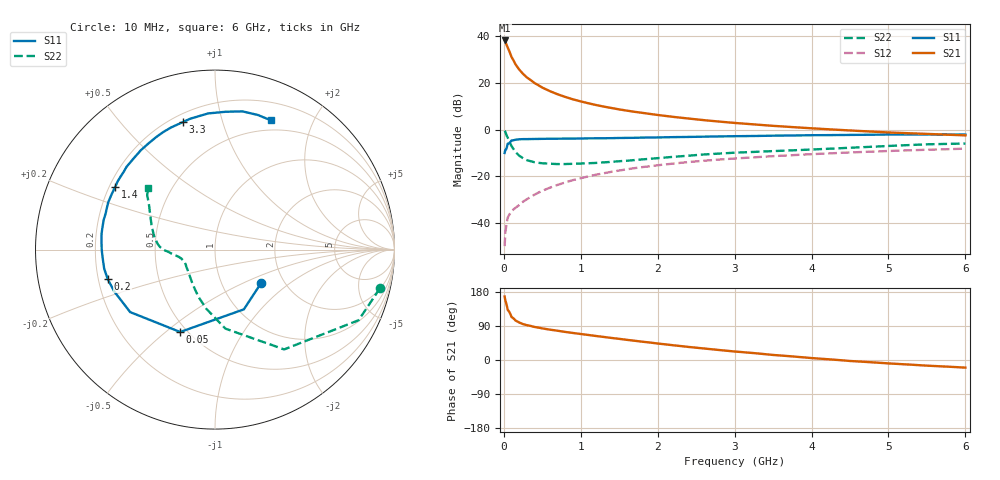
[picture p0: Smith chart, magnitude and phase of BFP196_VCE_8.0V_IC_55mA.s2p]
! Infineon Technologies  Discrete & RF Semiconductors
! BFP196
! VCE =  8.0 V,  IC =  55 mA
! Common Emitter S-Parameters:  Jan 2017
# GHz  S  MA  R  50
!  f  S11  S21  S12  S22
! GHz  MAG  ANG  MAG  ANG  MAG  ANG  MAG  ANG
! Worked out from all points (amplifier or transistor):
!   77 points, 10 MHz to 6 GHz, reference 50 ohm
!   highest |S21| = 38.2 dB at 10 MHz (marker M1)
!   |S21| within 3 dB of that: start of sweep to 49.8 MHz
!   unconditionally stable (mu >= 1): 556.7 MHz to 2.383 GHz
!   at 130 MHz: K = 0.61, MSG = 31.7 dB, |S12| = -34.0 dB
!   at 2.2 GHz: K = 1.01, MAG = 9.4 dB, |S12| = -14.6 dB
!   at 6 GHz: K = 0.94, MSG = 2.8 dB, |S12| = -8.2 dB
!   S11 on the Smith chart (normalised r, x): 10 MHz: 1.54, -0.63; 50 MHz: 0.46, -0.56; 200 MHz: 0.24, -0.13; 1.4 GHz: 0.22, +0.28; 3.3 GHz: 0.24, +0.75; 6 GHz: 0.39, +1.45
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0.01  0.3172 -35.6  81.03 167.6  0.0032 82.8  0.9439 -13.2
0.02  0.3697 -64.2  76.97 156.9  0.0063 73.8  0.8914 -26.2
0.05  0.4983 -112.9  57.26 132.7  0.013 56.9  0.6765 -55.3
0.1  0.5871 -143.6  35.84 113.5  0.018 53.8  0.4439 -82.5
0.15  0.6078 -157.4  25.22 104.5  0.0211 55.1  0.3331 -98.4
0.2  0.6199 -164.6  19.32 98.9  0.0243 58.0  0.2769 -109.8
0.25  0.6264 -170.2  15.59 94.7  0.0287 58.7  0.2432 -118.1
0.3  0.6267 -174.0  13.06 91.9  0.0324 61.6  0.2219 -125.5
0.4  0.6311 -179.8  9.896 87.1  0.0406 64.8  0.2002 -135.7
0.5  0.6343 175.6  7.934 83.4  0.049 66.0  0.1904 -143.0
0.6  0.6382 171.9  6.644 80.1  0.0573 66.5  0.1864 -148.9
0.7  0.6393 168.5  5.701 77.2  0.0657 66.7  0.1829 -153.1
0.8  0.642 165.1  4.996 74.0  0.0742 66.6  0.1834 -156.1
0.9  0.6415 161.9  4.439 71.3  0.0832 65.6  0.1855 -158.9
1.1  0.6507 156.1  3.66 66.0  0.0999 64.5  0.1908 -163.3
1.4  0.6567 147.7  2.901 58.2  0.1251 61.1  0.2045 -168.4
2.1  0.6852 129.2  1.966 41.3  0.1799 52.2  0.2529 -176.2
3.1  0.7257 107.9  1.351 20.8  0.2465 38.9  0.3257 173.0
3.3  0.7325 104.2  1.275 17.3  0.2582 36.5  0.336 170.3
4.1  0.7607 91.4  1.045 3.7  0.3031 26.9  0.3813 158.3
5.1  0.7847 77.5  0.857 -10.1  0.3529 15.3  0.4543 144.6
6  0.7848 66.5  0.753 -20.1  0.391 5.3  0.5039 137.5
